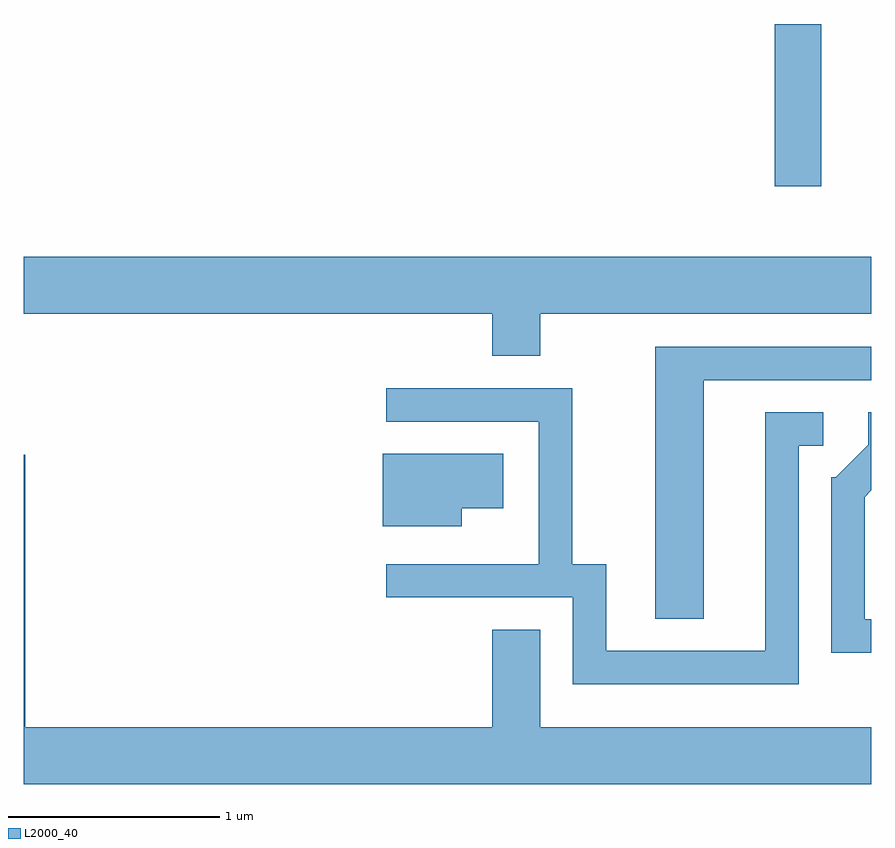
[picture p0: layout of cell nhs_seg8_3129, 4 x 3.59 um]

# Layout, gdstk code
import gdstk
lib = gdstk.Library(unit=1e-6, precision=1e-09)
def R(c, l, rs):  # rectangles x0, y0, x1, y1
    for r in rs: c.add(gdstk.rectangle(r[:2], r[2:], *l))
def P(c, l, *ps):  # polygons
    for p in ps: c.add(gdstk.Polygon(p, *l))
L2000_40 = (2000, 40)

nhs_seg8_3129 = lib.new_cell('nhs_seg8_3129')
R(nhs_seg8_3129, L2000_40, [(281.156,1943.576,281.374,1944.342)])
P(nhs_seg8_3129, L2000_40, [(280.049,1942.976),(281.611,1942.976),(281.611,1943.244),(277.611,1943.244),(277.611,1942.976),(279.821,1942.976),(279.821,1942.776),(280.049,1942.776)],
  [(280.819,1942.661),(281.611,1942.661),(281.611,1942.819),(280.591,1942.819),(280.591,1941.536),(280.819,1941.536)],
  [(281.269,1942.351),(281.383,1942.351),(281.383,1942.509),(281.111,1942.509),(281.111,1941.384),(280.359,1941.384),(280.359,1941.794),(280.199,1941.794),(280.199,1942.624),(279.323,1942.624),(279.323,1942.466),(280.041,1942.466),(280.041,1941.794),(279.323,1941.794),(279.323,1941.636),(280.201,1941.636),(280.201,1941.226),(281.269,1941.226)],
  [(281.611,1941.534),(281.579,1941.534),(281.579,1942.109),(281.611,1942.141),(281.611,1942.509),(281.596,1942.509),(281.596,1942.357),(281.444,1942.204),(281.421,1942.204),(281.421,1941.376),(281.611,1941.376)],
  [(279.679,1942.056),(279.874,1942.056),(279.874,1942.314),(279.306,1942.314),(279.306,1941.971),(279.679,1941.971)],
  [(281.611,1941.024),(280.049,1941.024),(280.049,1941.484),(279.821,1941.484),(279.821,1941.024),(277.619,1941.024),(277.619,1942.309),(277.611,1942.309),(277.611,1940.756),(281.611,1940.756)])

lib.write_gds('nhs_seg8_3129.gds')
